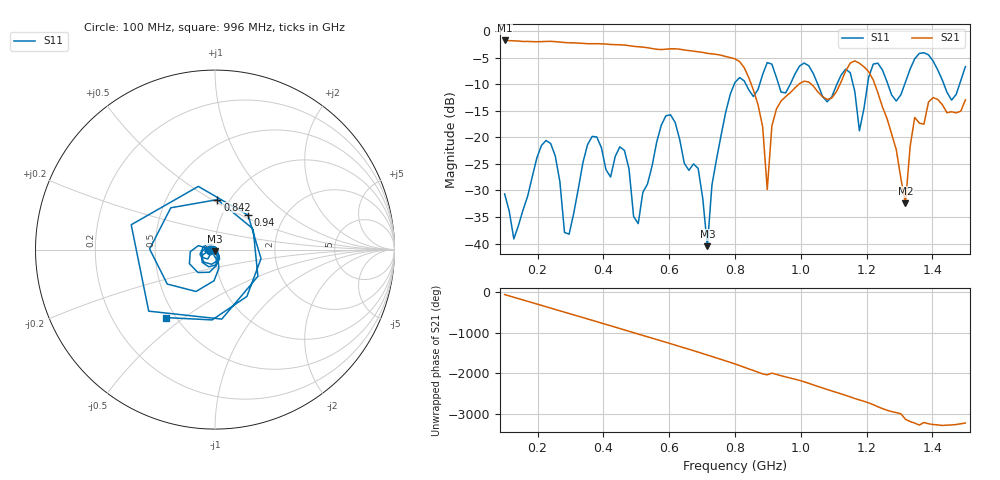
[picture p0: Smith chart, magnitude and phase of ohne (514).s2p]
! NanoVNA-App
! Date: 2025-09-25 14:24:48
! Start: 100MHz Stop: 1,5GHz Points: 101
! S-Parameter data: F S11 S21 S12 S22
# Hz S RI R 50
!  Frequency  S11_Real  S11_Imag  S21_Real  S21_Imag  S12_Real  S12_Imag  S22_Real  S22_Imag
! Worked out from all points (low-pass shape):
!   101 points, 100 MHz to 1.5 GHz, reference 50 ohm
!   highest |S21| = -1.79 dB at 100 MHz (marker M1); lowest = -32.4 dB at 1.318 GHz (marker M2)
!   |S21| within 3 dB of the highest: start of sweep to 770.7 MHz
!   lowest |S11| = -40.5 dB at 716 MHz (marker M3), VSWR 1.02, Z = 49.9 - j0.934 ohm
!   |S11| at or under -10 dB: start of sweep to 797.9 MHz; 833 MHz to 875 MHz (42.02 MHz wide, 4.92 % of centre); 1.051 GHz to 1.11 GHz (58.48 MHz wide, 5.41 % of centre) (the widest 3 of 7)
!   S12 and S22 are empty: the file has one direction only
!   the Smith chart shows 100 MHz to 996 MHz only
!   S11 on the Smith chart (normalised r, x): 100 MHz: 0.94, -0.01; 842 MHz: 0.88, +0.53; 940 MHz: 1.32, +0.55; 996 MHz: 0.44, -0.43
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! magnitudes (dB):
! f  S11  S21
! 100 MHz  -30.6  -1.8
! 128 MHz  -39.1  -1.9
! 226 MHz  -20.6  -2.0
! 296 MHz  -38.2  -2.2
! 338 MHz  -24.7  -2.3
! 464 MHz  -22.5  -2.7
! 506 MHz  -36.2  -3.0
! 576 MHz  -17.7  -3.5
! 688 MHz  -25.9  -3.9
! 716 MHz  -40.5  -4.2
! 800 MHz  -9.7  -5.3
! 842 MHz  -11.1  -8.8
! 898 MHz  -6.0  -29.8
! 940 MHz  -11.5  -13.2
! 996 MHz  -6.6  -9.9
! 1.038 GHz  -8.0  -10.4
! 1.178 GHz  -18.8  -6.1
! 1.22 GHz  -6.2  -9.2
! 1.276 GHz  -12.0  -19.4
! 1.318 GHz  -9.6  -32.4
! 1.346 GHz  -5.2  -16.3
! 1.5 GHz  -6.7  -13.0
